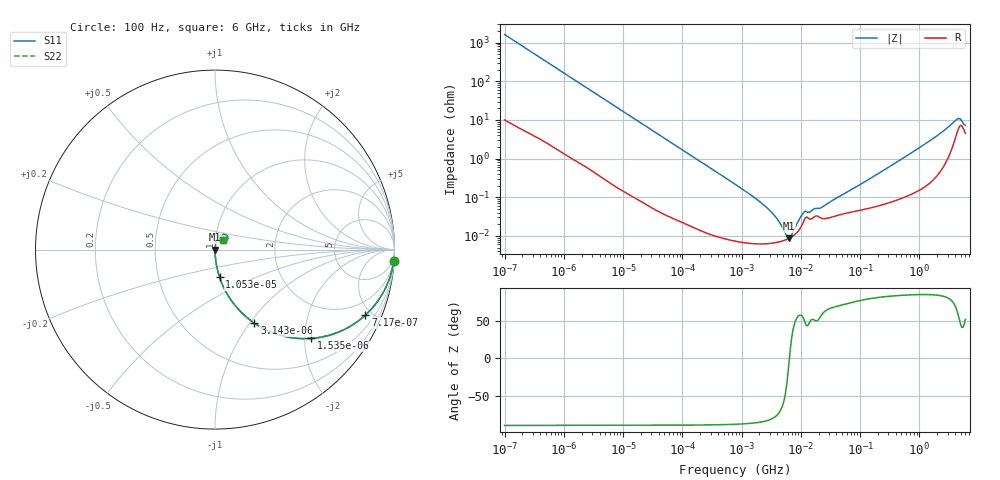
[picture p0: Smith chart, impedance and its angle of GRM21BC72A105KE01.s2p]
!Murata Part Number: GRM21BC72A105KE01
!These Parameters are Measured in Series Mode Connection
!Data Generated on Mar 30, 2021
!  o--ll--o
!Port1  Port2
!  o------o
!Operation Temp=25[degC], DC Bias Voltage=0[V]
!Freq. Start=100[Hz] Stop=6[GHz] 401[Steps]
# Hz S RI R 50
!Freq.(Hz) S11(Real) S11(Imag) S21(Real) S21(Imag) S12(Real) S12(Imag) S22(Real) S22(Imag)
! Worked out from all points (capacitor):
!   401 points, 100 Hz to 6 GHz, reference 50 ohm
!   read as one part in series: C = 975 nF near 109 Hz
!   lowest |Z| = 8.69 mohm at 6.353 MHz (marker M1)
!   series resonance near 6.415 MHz, so ESL is about 630 pH
!   S11 on the Smith chart (normalised r, x): 100 Hz: 1, -33; 717 Hz: 1.04, -4.59; 1.535 kHz: 1.02, -2.15; 3.143 kHz: 1.01, -1.06; 10.53 kHz: 1.00, -0.32; 6 GHz: 1.09, +0.12
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100  0.9959 -0.0611  0.00412 0.0611  0.00412 0.0611  0.9959 -0.0611
335  0.9585 -0.1957  0.0415 0.1957  0.0415 0.1957  0.9585 -0.1957
717  0.8383 -0.3642  0.1617 0.3642  0.1617 0.3642  0.8383 -0.3642
1535  0.536 -0.4945  0.464 0.4945  0.464 0.4945  0.536 -0.4945
2008  0.4048 -0.4866  0.5952 0.4866  0.5952 0.4866  0.4048 -0.4866
3143  0.2198 -0.4098  0.7802 0.4098  0.7802 0.4098  0.2198 -0.4098
10527  0.0258 -0.1542  0.9742 0.1542  0.9742 0.1542  0.0258 -0.1542
40335  0.00215 -0.0415  0.9979 0.0415  0.9979 0.0415  0.00215 -0.0415
774597  7.78e-05 -0.00218  0.9999 0.00218  0.9999 0.00218  7.78e-05 -0.00218
2837864  6.33e-05 -0.000489  0.9999 0.000489  0.9999 0.000489  6.33e-05 -0.000489
4060267  6.84e-05 -0.000256  0.9999 0.000256  0.9999 0.000256  6.84e-05 -0.000256
5554849  7.9e-05 -7.87e-05  0.9999 7.87e-05  0.9999 7.87e-05  7.9e-05 -7.87e-05
6353432  8.67e-05 -5.2e-06  0.9999 5.2e-06  0.9999 5.2e-06  8.67e-05 -5.2e-06
7266822  9.79e-05 6.94e-05  0.9999 -6.94e-05  0.9999 -6.94e-05  9.79e-05 6.94e-05
1.087309e7  0.000219 0.000315  0.9998 -0.000315  0.9998 -0.000315  0.000219 0.000315
1.555665e7  0.000282 0.000365  0.9997 -0.000365  0.9997 -0.000365  0.000282 0.000365
2.327686e7  0.000282 0.000487  0.9997 -0.000487  0.9997 -0.000487  0.000282 0.000487
3.124326e8  0.00076 0.0061  0.9992 -0.0061  0.9992 -0.0061  0.00076 0.0061
1.637704e9  0.00358 0.0313  0.9964 -0.0313  0.9964 -0.0313  0.00358 0.0313
4.193612e9  0.0456 0.0852  0.9544 -0.0852  0.9544 -0.0852  0.0456 0.0852
4.796499e9  0.0699 0.0728  0.9301 -0.0728  0.9301 -0.0728  0.0699 0.0728
6e9  0.0457 0.0528  0.9543 -0.0528  0.9543 -0.0528  0.0457 0.0528
